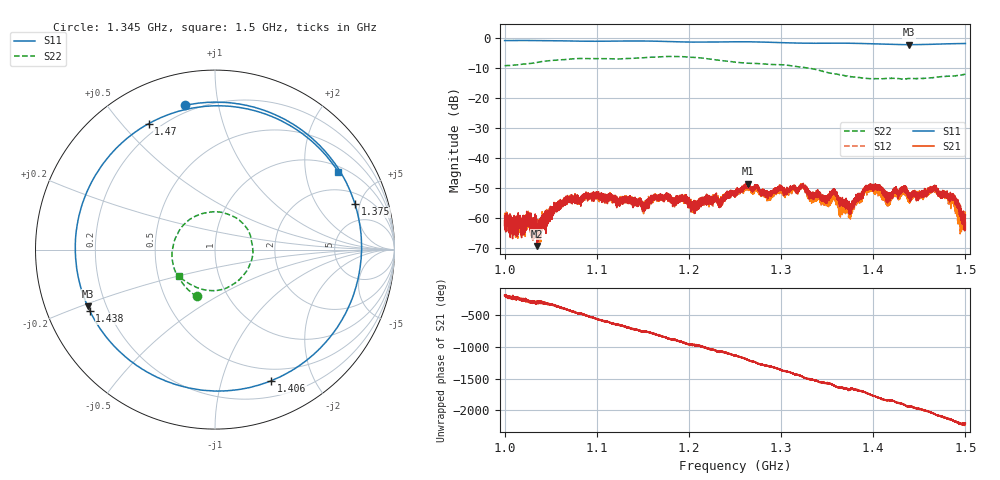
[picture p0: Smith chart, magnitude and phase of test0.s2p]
!Keysight Technologies N9923A: A.08.15
!Date: Friday, 16 February 2024 22:11:50
!Timezone: (GMT-05:00) Eastern Time (US & Canada)
!Model: N9923A
!Serial: MY52412730
!GPS Latitude:
!GPS Longitude:
!GPS TimeStamp: 0001-01-01 00:00:00Z
!GPS Seconds Since Last Read: 0
!CHECKSUM:1203548411
!Correction: S11(ON Q)S21(ON Q)S12(ON Q)S22(ON Q)
!S2P File: Measurements:S11,S21,S12,S22:
# Hz S DB R 50
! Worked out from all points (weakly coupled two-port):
!   10001 points, 1 GHz to 1.5 GHz, reference 50 ohm
!   highest |S21| = -48.48 dB at 1.264 GHz (marker M1); lowest = -69.3 dB at 1.035 GHz (marker M2)
!   lowest |S11| = -2.2 dB at 1.439 GHz (marker M3), VSWR 7.94, Z = 6.58 - j10.5 ohm
!   |S11| at or under -10 dB: nowhere
!   |S22| runs from -13.6 to -6.1 dB; largest |S21 - S12| = 0.0018
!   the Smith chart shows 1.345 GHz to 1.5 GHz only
!   S11 on the Smith chart (normalised r, x): 1.345 GHz: 0.16, +0.80; 1.375 GHz: 2.93, +4.51; 1.406 GHz: 0.37, -1.45; 1.438 GHz: 0.13, -0.23; 1.47 GHz: 0.16, +0.59; 1.5 GHz: 1.20, +3.05
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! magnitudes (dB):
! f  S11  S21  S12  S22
! 1 GHz  -0.8  -62.4  -58.8  -9.2
! 1.035 GHz  -0.8  -69.3  -65.4  -8.1
! 1.083 GHz  -1.0  -52.6  -53.9  -6.8
! 1.167 GHz  -1.1  -53.1  -52.9  -6.3
! 1.206 GHz  -1.3  -55.7  -56.7  -6.4
! 1.25 GHz  -1.2  -51.9  -52.6  -8.0
! 1.264 GHz  -1.2  -48.5  -50.3  -8.4
! 1.323 GHz  -1.7  -49.3  -49.3  -9.7
! 1.333 GHz  -1.7  -52.7  -53.0  -10.2
! 1.345 GHz  -1.7  -52.7  -53.3  -11.1
! 1.358 GHz  -1.7  -51.5  -53.7  -11.9
! 1.375 GHz  -1.7  -56.4  -58.7  -12.8
! 1.392 GHz  -1.8  -49.4  -51.3  -13.4
! 1.406 GHz  -2.0  -49.5  -51.2  -13.5
! 1.417 GHz  -2.1  -53.0  -55.3  -13.5
! 1.438 GHz  -2.2  -51.4  -53.8  -13.5
! 1.439 GHz  -2.2  -52.1  -53.7  -13.5
! 1.47 GHz  -2.0  -50.3  -51.0  -13.0
! 1.487 GHz  -1.9  -52.4  -53.8  -12.6
! 1.495 GHz  -1.8  -57.1  -60.3  -12.3
! 1.5 GHz  -1.8  -60.9  -60.9  -12.1
! 1.5 GHz  -1.8  -61.5  -58.5  -12.0
